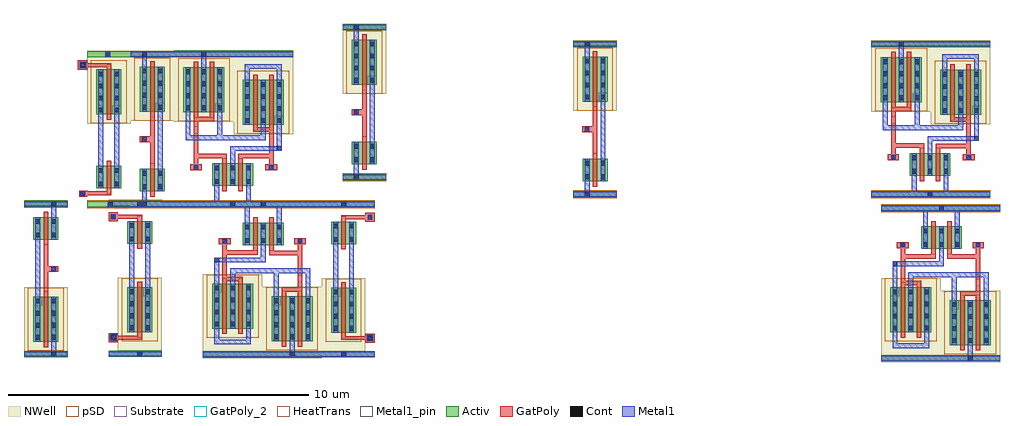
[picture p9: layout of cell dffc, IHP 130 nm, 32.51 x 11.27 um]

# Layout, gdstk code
from math import pi, radians
import gdstk
lib = gdstk.Library(unit=1e-6, precision=5e-09)
def R(c, l, rs):  # rectangles x0, y0, x1, y1
    for r in rs: c.add(gdstk.rectangle(r[:2], r[2:], *l))
def A(c, l, x, y, w, h, nx, ny, dx, dy):  # array of equal rectangles
    R(c, l, [(x+i*dx, y+j*dy, x+i*dx+w, y+j*dy+h) for i in range(nx) for j in range(ny)])
Activ = (1, 0)
GatPoly = (5, 0)
GatPoly_2 = (5, 2)
Cont = (6, 0)
Metal1 = (8, 0)
Metal1_pin = (8, 2)
pSD = (14, 0)
NWell = (31, 0)
Substrate = (40, 0)
HeatTrans = (51, 0)

nmos_8 = lib.new_cell('nmos$8')
R(nmos_8, Activ, [(0,0,0.3,0.3), (0,0,0.83,0.75), (0.53,0,0.83,0.3)])
R(nmos_8, GatPoly, [(0.34,-0.18,0.49,0.93)])
R(nmos_8, GatPoly_2, [(0.34,-0.18,0.49,0.93)])
R(nmos_8, Cont, [(0.07,0.07,0.23,0.23), (0.6,0.07,0.76,0.23), (0.07,0.52,0.23,0.68), (0.6,0.52,0.76,0.68)])
R(nmos_8, Metal1, [(0.07,0,0.23,0.75), (0.6,0,0.76,0.75)])
R(nmos_8, Metal1_pin, [(0.07,0,0.23,0.75), (0.6,0,0.76,0.75)])
R(nmos_8, HeatTrans, [(0.34,-0.18,0.49,0.93)])
nmos_8.add(gdstk.Label('nmos', (0.415,0.375), layer=63, texttype=0))
nmos_8.add(gdstk.Label('nmos', (0.415,0.375), layer=51, texttype=0))

pmos_1_16 = lib.new_cell('pmos$1$16')
R(pmos_1_16, Activ, [(0,0,0.3,0.3), (0,0,0.83,1.5), (0.53,0,0.83,0.3)])
R(pmos_1_16, GatPoly, [(0.34,-0.18,0.49,1.68), (0.34,-0.18,0.49,1.68)])
A(pmos_1_16, Cont, 0.07, 0.07, 0.16, 0.16, 1, 4, 0, 0.4)
A(pmos_1_16, Cont, 0.6, 0.07, 0.16, 0.16, 1, 4, 0, 0.4)
R(pmos_1_16, Metal1, [(0.07,0,0.23,1.5), (0.07,0,0.23,1.5), (0.6,0,0.76,1.5), (0.6,0,0.76,1.5)])
R(pmos_1_16, pSD, [(-0.18,-0.3,1.01,1.8)])
R(pmos_1_16, NWell, [(-0.31,-0.31,1.14,1.81)])
R(pmos_1_16, Substrate, [(0.53,0,0.83,0.3)])
R(pmos_1_16, HeatTrans, [(0.34,-0.18,0.49,1.68)])
pmos_1_16.add(gdstk.Label('pmos', (0.415,0.75), layer=63, texttype=0))
pmos_1_16.add(gdstk.Label('pmos', (0.415,0.75), layer=51, texttype=0))

inverter_6 = lib.new_cell('inverter$6')
R(inverter_6, Activ, [(-0.46,-0.1,0.99,0.1), (-0.46,4.9,0.99,5.1)])
R(inverter_6, GatPoly, [(0.19,1.365,0.34,2.965), (-0.155,2.07,0.145,2.265), (0.145,2.07,0.19,2.265)])
R(inverter_6, Cont, [(-0.08,-0.08,0.08,0.08), (-0.085,2.085,0.075,2.245), (-0.08,4.92,0.08,5.08)])
R(inverter_6, Metal1, [(-0.46,-0.08,0.99,0.08), (-0.08,-0.08,0.08,0.08), (-0.08,0.08,0.08,0.435), (0.45,0.96,0.61,3.37), (-0.085,2.085,0.075,2.245), (-0.08,4.585,0.08,4.92), (-0.46,4.92,-0.08,5.08), (-0.08,4.92,0.08,5.08), (0.08,4.92,0.99,5.08)])
R(inverter_6, Metal1_pin, [(-0.46,-0.08,0.99,0.08), (-0.08,-0.08,0.08,0.08), (-0.085,2.085,0.075,2.245), (0.45,3.155,0.61,3.315), (-0.46,4.92,0.99,5.08), (-0.08,4.92,0.08,5.08)])
R(inverter_6, pSD, [(-0.46,-0.13,0.99,0.13)])
R(inverter_6, NWell, [(-0.46,4.895,0.99,5.11)])
inverter_6.add(gdstk.Reference(nmos_8, (-0.15,0.435)))
inverter_6.add(gdstk.Reference(pmos_1_16, (-0.15,3.085)))
inverter_6.add(gdstk.Label('out', (0.505,3.25), layer=8, texttype=2))
inverter_6.add(gdstk.Label('VSS', (0.015,0.015), layer=8, texttype=2))
inverter_6.add(gdstk.Label('VDD', (-0.025,4.94), layer=8, texttype=2))
inverter_6.add(gdstk.Label('in', (-0.01,2.15), layer=8, texttype=2))

pmos_4 = lib.new_cell('pmos$4')
A(pmos_4, Activ, 0, 0, 0.3, 0.3, 3, 1, 0.53, 0)
R(pmos_4, Activ, [(0,0,1.36,1.5)])
R(pmos_4, GatPoly, [(0.34,-0.18,0.49,1.68), (0.34,-0.18,0.49,1.68), (0.87,-0.18,1.02,1.68)])
A(pmos_4, Cont, 0.07, 0.07, 0.16, 0.16, 3, 4, 0.53, 0.4)
R(pmos_4, Metal1, [(0.07,0,0.23,1.5), (0.07,0,0.23,1.5), (0.6,0,0.76,1.5), (0.6,0,0.76,1.5), (1.13,0,1.29,1.5)])
R(pmos_4, pSD, [(-0.18,-0.3,1.54,1.8)])
R(pmos_4, NWell, [(-0.31,-0.31,1.67,1.81)])
R(pmos_4, Substrate, [(1.06,0,1.36,0.3)])
R(pmos_4, HeatTrans, [(0.34,-0.18,0.49,1.68), (0.87,-0.18,1.02,1.68)])
pmos_4.add(gdstk.Label('pmos', (0.415,0.75), layer=63, texttype=0))
pmos_4.add(gdstk.Label('pmos', (0.415,0.75), layer=51, texttype=0))
pmos_4.add(gdstk.Label('pmos', (0.945,0.75), layer=51, texttype=0))

nmos_2_3 = lib.new_cell('nmos$2$3')
R(nmos_2_3, Activ, [(0,0,0.3,0.3), (0,0,0.83,0.75), (0.53,0,0.83,0.3)])
R(nmos_2_3, GatPoly, [(0.34,-0.18,0.49,0.93)])
R(nmos_2_3, GatPoly_2, [(0.34,-0.18,0.49,0.93)])
R(nmos_2_3, Cont, [(0.07,0.07,0.23,0.23), (0.6,0.07,0.76,0.23), (0.07,0.52,0.23,0.68), (0.6,0.52,0.76,0.68)])
R(nmos_2_3, Metal1, [(0.07,0,0.23,0.75), (0.6,0,0.76,0.75)])
R(nmos_2_3, Metal1_pin, [(0.07,0,0.23,0.75), (0.6,0,0.76,0.75)])
R(nmos_2_3, HeatTrans, [(0.34,-0.18,0.49,0.93)])
nmos_2_3.add(gdstk.Label('nmos', (0.415,0.375), layer=63, texttype=0))
nmos_2_3.add(gdstk.Label('nmos', (0.415,0.375), layer=51, texttype=0))

nor2_3 = lib.new_cell('nor2$3')
R(nor2_3, Activ, [(-2.34,-0.1,1.62,0.1), (-2.34,4.9,1.62,5.105)])
R(nor2_3, GatPoly, [(-1.805,1.13,-1.605,1.33), (-1.625,1.13,-1.425,1.33), (0.695,1.13,0.895,1.33), (0.82,1.13,0.97,1.685), (0.895,1.13,1.095,1.33), (-1.69,1.33,-1.54,1.69), (-0.2,1.535,0.97,1.685), (-1.69,1.54,-0.58,1.69), (0.82,1.685,0.97,2.46), (-1.69,1.69,-1.54,2.88), (0.29,2.42,0.97,2.57), (-1.69,2.76,-1.01,2.91)])
R(nor2_3, GatPoly_2, [(-1.69,2.35,-1.54,2.6)])
R(nor2_3, Cont, [(-0.47,-0.08,-0.31,0.08), (-1.69,1.15,-1.53,1.31), (0.815,1.15,0.975,1.31), (1.08,1.775,1.24,1.935), (-1.43,4.92,-1.27,5.08)])
R(nor2_3, Metal1, [(-2.34,-0.08,1.62,0.08), (-0.47,-0.08,-0.31,0.08), (-1,0.08,-0.84,0.84), (0.06,0.08,0.22,0.84), (-0.47,1.13,-0.31,1.775), (-1.69,1.15,-1.53,1.31), (0.815,1.15,0.975,1.31), (-0.47,1.775,1.24,1.935), (1.08,1.935,1.24,2.64), (-1.96,2.135,-1.8,3.29), (-1.96,2.135,0.71,2.295), (-0.9,2.135,-0.74,3.29), (0.55,2.135,0.71,2.87), (0.02,3.905,0.18,4.505), (1.08,3.905,1.24,4.505), (0.02,4.505,1.24,4.665), (-1.43,4.56,-1.27,5.08), (-2.34,4.92,1.62,5.08), (-1.43,4.92,-1.27,5.08)])
R(nor2_3, Metal1_pin, [(-2.34,-0.08,1.62,0.08), (-0.47,-0.08,-0.31,0.08), (-1.69,1.15,-1.53,1.31), (0.815,1.15,0.975,1.31), (1.08,1.775,1.24,1.935), (-2.34,4.92,-0.08,5.08), (-0.08,4.92,0.08,5.08), (0.08,4.92,1.62,5.08)])
R(nor2_3, pSD, [(-2.34,-0.13,1.62,0.13)])
R(nor2_3, NWell, [(-0.36,4.45,1.62,4.87), (-2.34,4.87,1.62,5.13)])
nor2_3.add(gdstk.Reference(pmos_4, (-0.05,2.64)))
nor2_3.add(gdstk.Reference(pmos_4, (-2.03,3.06)))
nor2_3.add(gdstk.Reference(pmos_4, (-2.03,3.06)))
nor2_3.add(gdstk.Reference(nmos_2_3, (-1.07,0.61)))
nor2_3.add(gdstk.Reference(nmos_2_3, (-0.54,0.61)))
nor2_3.add(gdstk.Label('vss', (-0.39,0), layer=8, texttype=2))
nor2_3.add(gdstk.Label('vdd', (-1.38,5), layer=8, texttype=2))
nor2_3.add(gdstk.Label('A', (-1.61,1.23), layer=8, texttype=2))
nor2_3.add(gdstk.Label('B', (0.895,1.23), layer=8, texttype=2))
nor2_3.add(gdstk.Label('out', (1.16,1.855), layer=8, texttype=2))

pmos_5 = lib.new_cell('pmos$5')
A(pmos_5, Activ, 0, 0, 0.3, 0.3, 3, 1, 0.53, 0)
R(pmos_5, Activ, [(0,0,1.36,1.5)])
R(pmos_5, GatPoly, [(0.34,-0.18,0.49,1.68), (0.34,-0.18,0.49,1.68), (0.87,-0.18,1.02,1.68)])
A(pmos_5, Cont, 0.07, 0.07, 0.16, 0.16, 3, 4, 0.53, 0.4)
R(pmos_5, Metal1, [(0.07,0,0.23,1.5), (0.07,0,0.23,1.5), (0.6,0,0.76,1.5), (0.6,0,0.76,1.5), (1.13,0,1.29,1.5)])
R(pmos_5, pSD, [(-0.18,-0.3,1.54,1.8)])
R(pmos_5, NWell, [(-0.31,-0.31,1.67,1.81)])
R(pmos_5, Substrate, [(1.06,0,1.36,0.3)])
R(pmos_5, HeatTrans, [(0.34,-0.18,0.49,1.68), (0.87,-0.18,1.02,1.68)])
pmos_5.add(gdstk.Label('pmos', (0.415,0.75), layer=63, texttype=0))
pmos_5.add(gdstk.Label('pmos', (0.415,0.75), layer=51, texttype=0))
pmos_5.add(gdstk.Label('pmos', (0.945,0.75), layer=51, texttype=0))

nmos_2_4 = lib.new_cell('nmos$2$4')
R(nmos_2_4, Activ, [(0,0,0.3,0.3), (0,0,0.83,0.75), (0.53,0,0.83,0.3)])
R(nmos_2_4, GatPoly, [(0.34,-0.18,0.49,0.93)])
R(nmos_2_4, GatPoly_2, [(0.34,-0.18,0.49,0.93)])
R(nmos_2_4, Cont, [(0.07,0.07,0.23,0.23), (0.6,0.07,0.76,0.23), (0.07,0.52,0.23,0.68), (0.6,0.52,0.76,0.68)])
R(nmos_2_4, Metal1, [(0.07,0,0.23,0.75), (0.6,0,0.76,0.75)])
R(nmos_2_4, Metal1_pin, [(0.07,0,0.23,0.75), (0.6,0,0.76,0.75)])
R(nmos_2_4, HeatTrans, [(0.34,-0.18,0.49,0.93)])
nmos_2_4.add(gdstk.Label('nmos', (0.415,0.375), layer=63, texttype=0))
nmos_2_4.add(gdstk.Label('nmos', (0.415,0.375), layer=51, texttype=0))

nor2_4 = lib.new_cell('nor2$4')
R(nor2_4, Activ, [(-2.34,-0.1,1.62,0.1), (-2.34,4.9,1.62,5.105)])
R(nor2_4, GatPoly, [(-1.805,1.13,-1.605,1.33), (-1.625,1.13,-1.425,1.33), (0.695,1.13,0.895,1.33), (0.82,1.13,0.97,1.685), (0.895,1.13,1.095,1.33), (-1.69,1.33,-1.54,1.69), (-0.2,1.535,0.97,1.685), (-1.69,1.54,-0.58,1.69), (0.82,1.685,0.97,2.46), (-1.69,1.69,-1.54,2.88), (0.29,2.42,0.97,2.57), (-1.69,2.76,-1.01,2.91)])
R(nor2_4, GatPoly_2, [(-1.69,2.35,-1.54,2.6)])
R(nor2_4, Cont, [(-0.47,-0.08,-0.31,0.08), (-1.69,1.15,-1.53,1.31), (0.815,1.15,0.975,1.31), (1.08,1.775,1.24,1.935), (-1.43,4.92,-1.27,5.08)])
R(nor2_4, Metal1, [(-2.34,-0.08,1.62,0.08), (-0.47,-0.08,-0.31,0.08), (-1,0.08,-0.84,0.84), (0.06,0.08,0.22,0.84), (-0.47,1.13,-0.31,1.775), (-1.69,1.15,-1.53,1.31), (0.815,1.15,0.975,1.31), (-0.47,1.775,1.24,1.935), (1.08,1.935,1.24,2.64), (-1.96,2.135,-1.8,3.29), (-1.96,2.135,0.71,2.295), (-0.9,2.135,-0.74,3.29), (0.55,2.135,0.71,2.87), (0.02,3.905,0.18,4.505), (1.08,3.905,1.24,4.505), (0.02,4.505,1.24,4.665), (-1.43,4.56,-1.27,5.08), (-2.34,4.92,1.62,5.08), (-1.43,4.92,-1.27,5.08)])
R(nor2_4, Metal1_pin, [(-2.34,-0.08,1.62,0.08), (-0.47,-0.08,-0.31,0.08), (-1.69,1.15,-1.53,1.31), (0.815,1.15,0.975,1.31), (1.08,1.775,1.24,1.935), (-2.34,4.92,-0.08,5.08), (-0.08,4.92,0.08,5.08), (0.08,4.92,1.62,5.08)])
R(nor2_4, pSD, [(-2.34,-0.13,1.62,0.13)])
R(nor2_4, NWell, [(-0.36,4.45,1.62,4.87), (-2.34,4.87,1.62,5.13)])
nor2_4.add(gdstk.Reference(pmos_5, (-0.05,2.64)))
nor2_4.add(gdstk.Reference(pmos_5, (-2.03,3.06)))
nor2_4.add(gdstk.Reference(pmos_5, (-2.03,3.06)))
nor2_4.add(gdstk.Reference(nmos_2_4, (-1.07,0.61)))
nor2_4.add(gdstk.Reference(nmos_2_4, (-0.54,0.61)))
nor2_4.add(gdstk.Label('vss', (-0.39,0), layer=8, texttype=2))
nor2_4.add(gdstk.Label('vdd', (-1.38,5), layer=8, texttype=2))
nor2_4.add(gdstk.Label('A', (-1.61,1.23), layer=8, texttype=2))
nor2_4.add(gdstk.Label('B', (0.895,1.23), layer=8, texttype=2))
nor2_4.add(gdstk.Label('out', (1.16,1.855), layer=8, texttype=2))

nmos_9 = lib.new_cell('nmos$9')
R(nmos_9, Activ, [(0,0,0.3,0.3), (0,0,0.83,0.75), (0.53,0,0.83,0.3)])
R(nmos_9, GatPoly, [(0.34,-0.18,0.49,0.93)])
R(nmos_9, GatPoly_2, [(0.34,-0.18,0.49,0.93)])
R(nmos_9, Cont, [(0.07,0.07,0.23,0.23), (0.6,0.07,0.76,0.23), (0.07,0.52,0.23,0.68), (0.6,0.52,0.76,0.68)])
R(nmos_9, Metal1, [(0.07,0,0.23,0.75), (0.6,0,0.76,0.75)])
R(nmos_9, Metal1_pin, [(0.07,0,0.23,0.75), (0.6,0,0.76,0.75)])
R(nmos_9, HeatTrans, [(0.34,-0.18,0.49,0.93)])
nmos_9.add(gdstk.Label('nmos', (0.415,0.375), layer=63, texttype=0))
nmos_9.add(gdstk.Label('nmos', (0.415,0.375), layer=51, texttype=0))

pmos_1_17 = lib.new_cell('pmos$1$17')
R(pmos_1_17, Activ, [(0,0,0.3,0.3), (0,0,0.83,1.5), (0.53,0,0.83,0.3)])
R(pmos_1_17, GatPoly, [(0.34,-0.18,0.49,1.68), (0.34,-0.18,0.49,1.68)])
A(pmos_1_17, Cont, 0.07, 0.07, 0.16, 0.16, 1, 4, 0, 0.4)
A(pmos_1_17, Cont, 0.6, 0.07, 0.16, 0.16, 1, 4, 0, 0.4)
R(pmos_1_17, Metal1, [(0.07,0,0.23,1.5), (0.07,0,0.23,1.5), (0.6,0,0.76,1.5), (0.6,0,0.76,1.5)])
R(pmos_1_17, pSD, [(-0.18,-0.3,1.01,1.8)])
R(pmos_1_17, NWell, [(-0.31,-0.31,1.14,1.81)])
R(pmos_1_17, Substrate, [(0.53,0,0.83,0.3)])
R(pmos_1_17, HeatTrans, [(0.34,-0.18,0.49,1.68)])
pmos_1_17.add(gdstk.Label('pmos', (0.415,0.75), layer=63, texttype=0))
pmos_1_17.add(gdstk.Label('pmos', (0.415,0.75), layer=51, texttype=0))

inverter_7 = lib.new_cell('inverter$7')
R(inverter_7, Activ, [(-0.46,-0.1,0.99,0.1), (-0.46,4.9,0.99,5.1)])
R(inverter_7, GatPoly, [(0.19,1.365,0.34,2.965), (-0.155,2.07,0.145,2.265), (0.145,2.07,0.19,2.265)])
R(inverter_7, Cont, [(-0.08,-0.08,0.08,0.08), (-0.085,2.085,0.075,2.245), (-0.08,4.92,0.08,5.08)])
R(inverter_7, Metal1, [(-0.46,-0.08,0.99,0.08), (-0.08,-0.08,0.08,0.08), (-0.08,0.08,0.08,0.435), (0.45,0.96,0.61,3.37), (-0.085,2.085,0.075,2.245), (-0.08,4.585,0.08,4.92), (-0.46,4.92,-0.08,5.08), (-0.08,4.92,0.08,5.08), (0.08,4.92,0.99,5.08)])
R(inverter_7, Metal1_pin, [(-0.46,-0.08,0.99,0.08), (-0.08,-0.08,0.08,0.08), (-0.085,2.085,0.075,2.245), (0.45,3.155,0.61,3.315), (-0.46,4.92,0.99,5.08), (-0.08,4.92,0.08,5.08)])
R(inverter_7, pSD, [(-0.46,-0.13,0.99,0.13)])
R(inverter_7, NWell, [(-0.46,4.895,0.99,5.11)])
inverter_7.add(gdstk.Reference(nmos_9, (-0.15,0.435)))
inverter_7.add(gdstk.Reference(pmos_1_17, (-0.15,3.085)))
inverter_7.add(gdstk.Label('out', (0.505,3.25), layer=8, texttype=2))
inverter_7.add(gdstk.Label('VSS', (0.015,0.015), layer=8, texttype=2))
inverter_7.add(gdstk.Label('VDD', (-0.025,4.94), layer=8, texttype=2))
inverter_7.add(gdstk.Label('in', (-0.01,2.15), layer=8, texttype=2))

pmos_6 = lib.new_cell('pmos$6')
A(pmos_6, Activ, 0, 0, 0.3, 0.3, 3, 1, 0.53, 0)
R(pmos_6, Activ, [(0,0,1.36,1.5)])
R(pmos_6, GatPoly, [(0.34,-0.18,0.49,1.68), (0.34,-0.18,0.49,1.68), (0.87,-0.18,1.02,1.68)])
A(pmos_6, Cont, 0.07, 0.07, 0.16, 0.16, 3, 4, 0.53, 0.4)
R(pmos_6, Metal1, [(0.07,0,0.23,1.5), (0.07,0,0.23,1.5), (0.6,0,0.76,1.5), (0.6,0,0.76,1.5), (1.13,0,1.29,1.5)])
R(pmos_6, pSD, [(-0.18,-0.3,1.54,1.8)])
R(pmos_6, NWell, [(-0.31,-0.31,1.67,1.81)])
R(pmos_6, Substrate, [(1.06,0,1.36,0.3)])
R(pmos_6, HeatTrans, [(0.34,-0.18,0.49,1.68), (0.87,-0.18,1.02,1.68)])
pmos_6.add(gdstk.Label('pmos', (0.415,0.75), layer=63, texttype=0))
pmos_6.add(gdstk.Label('pmos', (0.415,0.75), layer=51, texttype=0))
pmos_6.add(gdstk.Label('pmos', (0.945,0.75), layer=51, texttype=0))

nmos_2_5 = lib.new_cell('nmos$2$5')
R(nmos_2_5, Activ, [(0,0,0.3,0.3), (0,0,0.83,0.75), (0.53,0,0.83,0.3)])
R(nmos_2_5, GatPoly, [(0.34,-0.18,0.49,0.93)])
R(nmos_2_5, GatPoly_2, [(0.34,-0.18,0.49,0.93)])
R(nmos_2_5, Cont, [(0.07,0.07,0.23,0.23), (0.6,0.07,0.76,0.23), (0.07,0.52,0.23,0.68), (0.6,0.52,0.76,0.68)])
R(nmos_2_5, Metal1, [(0.07,0,0.23,0.75), (0.6,0,0.76,0.75)])
R(nmos_2_5, Metal1_pin, [(0.07,0,0.23,0.75), (0.6,0,0.76,0.75)])
R(nmos_2_5, HeatTrans, [(0.34,-0.18,0.49,0.93)])
nmos_2_5.add(gdstk.Label('nmos', (0.415,0.375), layer=63, texttype=0))
nmos_2_5.add(gdstk.Label('nmos', (0.415,0.375), layer=51, texttype=0))

nor2_5 = lib.new_cell('nor2$5')
R(nor2_5, Activ, [(-2.34,-0.1,1.62,0.1), (-2.34,4.9,1.62,5.1)])
R(nor2_5, GatPoly, [(-1.805,1.13,-1.605,1.33), (-1.625,1.13,-1.425,1.33), (0.695,1.13,0.895,1.33), (0.82,1.13,0.97,1.685), (0.895,1.13,1.095,1.33), (-1.69,1.33,-1.54,1.69), (-0.2,1.535,0.97,1.685), (-1.69,1.54,-0.58,1.69), (0.82,1.685,0.97,2.46), (-1.69,1.69,-1.54,2.88), (0.29,2.42,0.97,2.57), (-1.69,2.76,-1.01,2.91)])
R(nor2_5, GatPoly_2, [(-1.69,2.35,-1.54,2.6)])
R(nor2_5, Cont, [(-0.47,-0.08,-0.31,0.08), (-1.69,1.15,-1.53,1.31), (0.815,1.15,0.975,1.31), (1.08,1.775,1.24,1.935), (-1.43,4.92,-1.27,5.08)])
R(nor2_5, Metal1, [(-2.34,-0.08,1.62,0.08), (-0.47,-0.08,-0.31,0.08), (-1,0.08,-0.84,0.84), (0.06,0.08,0.22,0.84), (-0.47,1.13,-0.31,1.775), (-1.69,1.15,-1.53,1.31), (0.815,1.15,0.975,1.31), (-0.47,1.775,1.24,1.935), (1.08,1.935,1.24,2.64), (-1.96,2.135,-1.8,3.29), (-1.96,2.135,0.71,2.295), (-0.9,2.135,-0.74,3.29), (0.55,2.135,0.71,2.87), (0.02,3.905,0.18,4.505), (1.08,3.905,1.24,4.505), (0.02,4.505,1.24,4.665), (-1.43,4.56,-1.27,5.08), (-2.34,4.92,1.62,5.08), (-1.43,4.92,-1.27,5.08)])
R(nor2_5, Metal1_pin, [(-2.34,-0.08,1.62,0.08), (-0.47,-0.08,-0.31,0.08), (-1.69,1.15,-1.53,1.31), (0.815,1.15,0.975,1.31), (1.08,1.775,1.24,1.935), (-2.34,4.92,-0.08,5.08), (-0.08,4.92,0.08,5.08), (0.08,4.92,1.62,5.08)])
R(nor2_5, pSD, [(-2.34,-0.13,1.62,0.13)])
R(nor2_5, NWell, [(-0.36,4.45,1.62,4.87), (-2.34,4.87,1.62,5.13)])
nor2_5.add(gdstk.Reference(pmos_6, (-0.05,2.64)))
nor2_5.add(gdstk.Reference(pmos_6, (-2.03,3.06)))
nor2_5.add(gdstk.Reference(pmos_6, (-2.03,3.06)))
nor2_5.add(gdstk.Reference(nmos_2_5, (-1.07,0.61)))
nor2_5.add(gdstk.Reference(nmos_2_5, (-0.54,0.61)))
nor2_5.add(gdstk.Label('vss', (-0.39,0), layer=8, texttype=2))
nor2_5.add(gdstk.Label('vdd', (-1.38,5), layer=8, texttype=2))
nor2_5.add(gdstk.Label('A', (-1.61,1.23), layer=8, texttype=2))
nor2_5.add(gdstk.Label('B', (0.895,1.23), layer=8, texttype=2))
nor2_5.add(gdstk.Label('out', (1.16,1.855), layer=8, texttype=2))

nmos_10 = lib.new_cell('nmos$10')
R(nmos_10, Activ, [(0,0,0.3,0.3), (0,0,0.83,0.75), (0.53,0,0.83,0.3)])
R(nmos_10, GatPoly, [(0.34,-0.18,0.49,0.93)])
R(nmos_10, GatPoly_2, [(0.34,-0.18,0.49,0.93)])
R(nmos_10, Cont, [(0.07,0.07,0.23,0.23), (0.6,0.07,0.76,0.23), (0.07,0.52,0.23,0.68), (0.6,0.52,0.76,0.68)])
R(nmos_10, Metal1, [(0.07,0,0.23,0.75), (0.6,0,0.76,0.75)])
R(nmos_10, Metal1_pin, [(0.07,0,0.23,0.75), (0.6,0,0.76,0.75)])
R(nmos_10, HeatTrans, [(0.34,-0.18,0.49,0.93)])
nmos_10.add(gdstk.Label('nmos', (0.415,0.375), layer=63, texttype=0))
nmos_10.add(gdstk.Label('nmos', (0.415,0.375), layer=51, texttype=0))

pmos_1_18 = lib.new_cell('pmos$1$18')
R(pmos_1_18, Activ, [(0,0,0.3,0.3), (0,0,0.83,1.5), (0.53,0,0.83,0.3)])
R(pmos_1_18, GatPoly, [(0.34,-0.18,0.49,1.68), (0.34,-0.18,0.49,1.68)])
A(pmos_1_18, Cont, 0.07, 0.07, 0.16, 0.16, 1, 4, 0, 0.4)
A(pmos_1_18, Cont, 0.6, 0.07, 0.16, 0.16, 1, 4, 0, 0.4)
R(pmos_1_18, Metal1, [(0.07,0,0.23,1.5), (0.07,0,0.23,1.5), (0.6,0,0.76,1.5), (0.6,0,0.76,1.5)])
R(pmos_1_18, pSD, [(-0.18,-0.3,1.01,1.8)])
R(pmos_1_18, NWell, [(-0.31,-0.31,1.14,1.81)])
R(pmos_1_18, Substrate, [(0.53,0,0.83,0.3)])
R(pmos_1_18, HeatTrans, [(0.34,-0.18,0.49,1.68)])
pmos_1_18.add(gdstk.Label('pmos', (0.415,0.75), layer=63, texttype=0))
pmos_1_18.add(gdstk.Label('pmos', (0.415,0.75), layer=51, texttype=0))

inverter_8 = lib.new_cell('inverter$8')
R(inverter_8, Activ, [(-0.46,-0.1,0.99,0.1), (-0.46,4.9,0.99,5.1)])
R(inverter_8, GatPoly, [(0.19,1.365,0.34,2.965), (-0.155,2.07,0.145,2.265), (0.145,2.07,0.19,2.265)])
R(inverter_8, Cont, [(-0.08,-0.08,0.08,0.08), (-0.085,2.085,0.075,2.245), (-0.08,4.92,0.08,5.08)])
R(inverter_8, Metal1, [(-0.46,-0.08,0.99,0.08), (-0.08,-0.08,0.08,0.08), (-0.08,0.08,0.08,0.435), (0.45,0.96,0.61,3.37), (-0.085,2.085,0.075,2.245), (-0.08,4.585,0.08,4.92), (-0.46,4.92,-0.08,5.08), (-0.08,4.92,0.08,5.08), (0.08,4.92,0.99,5.08)])
R(inverter_8, Metal1_pin, [(-0.46,-0.08,0.99,0.08), (-0.08,-0.08,0.08,0.08), (-0.085,2.085,0.075,2.245), (0.45,3.155,0.61,3.315), (-0.46,4.92,0.99,5.08), (-0.08,4.92,0.08,5.08)])
R(inverter_8, pSD, [(-0.46,-0.13,0.99,0.13)])
R(inverter_8, NWell, [(-0.46,4.895,0.99,5.11)])
inverter_8.add(gdstk.Reference(nmos_10, (-0.15,0.435)))
inverter_8.add(gdstk.Reference(pmos_1_18, (-0.15,3.085)))
inverter_8.add(gdstk.Label('out', (0.505,3.25), layer=8, texttype=2))
inverter_8.add(gdstk.Label('VSS', (0.015,0.015), layer=8, texttype=2))
inverter_8.add(gdstk.Label('VDD', (-0.025,4.94), layer=8, texttype=2))
inverter_8.add(gdstk.Label('in', (-0.01,2.15), layer=8, texttype=2))

pmos_7 = lib.new_cell('pmos$7')
A(pmos_7, Activ, 0, 0, 0.3, 0.3, 3, 1, 0.53, 0)
R(pmos_7, Activ, [(0,0,1.36,1.5)])
R(pmos_7, GatPoly, [(0.34,-0.18,0.49,1.68), (0.34,-0.18,0.49,1.68), (0.87,-0.18,1.02,1.68)])
A(pmos_7, Cont, 0.07, 0.07, 0.16, 0.16, 3, 4, 0.53, 0.4)
R(pmos_7, Metal1, [(0.07,0,0.23,1.5), (0.07,0,0.23,1.5), (0.6,0,0.76,1.5), (0.6,0,0.76,1.5), (1.13,0,1.29,1.5)])
R(pmos_7, pSD, [(-0.18,-0.3,1.54,1.8)])
R(pmos_7, NWell, [(-0.31,-0.31,1.67,1.81)])
R(pmos_7, Substrate, [(1.06,0,1.36,0.3)])
R(pmos_7, HeatTrans, [(0.34,-0.18,0.49,1.68), (0.87,-0.18,1.02,1.68)])
pmos_7.add(gdstk.Label('pmos', (0.415,0.75), layer=63, texttype=0))
pmos_7.add(gdstk.Label('pmos', (0.415,0.75), layer=51, texttype=0))
pmos_7.add(gdstk.Label('pmos', (0.945,0.75), layer=51, texttype=0))

nmos_2_6 = lib.new_cell('nmos$2$6')
R(nmos_2_6, Activ, [(0,0,0.3,0.3), (0,0,0.83,0.75), (0.53,0,0.83,0.3)])
R(nmos_2_6, GatPoly, [(0.34,-0.18,0.49,0.93)])
R(nmos_2_6, GatPoly_2, [(0.34,-0.18,0.49,0.93)])
R(nmos_2_6, Cont, [(0.07,0.07,0.23,0.23), (0.6,0.07,0.76,0.23), (0.07,0.52,0.23,0.68), (0.6,0.52,0.76,0.68)])
R(nmos_2_6, Metal1, [(0.07,0,0.23,0.75), (0.6,0,0.76,0.75)])
R(nmos_2_6, Metal1_pin, [(0.07,0,0.23,0.75), (0.6,0,0.76,0.75)])
R(nmos_2_6, HeatTrans, [(0.34,-0.18,0.49,0.93)])
nmos_2_6.add(gdstk.Label('nmos', (0.415,0.375), layer=63, texttype=0))
nmos_2_6.add(gdstk.Label('nmos', (0.415,0.375), layer=51, texttype=0))

nor2_6 = lib.new_cell('nor2$6')
R(nor2_6, Activ, [(-2.34,-0.1,1.62,0.1), (-2.34,4.9,1.62,5.1)])
R(nor2_6, GatPoly, [(-1.805,1.13,-1.605,1.33), (-1.625,1.13,-1.425,1.33), (0.695,1.13,0.895,1.33), (0.82,1.13,0.97,1.685), (0.895,1.13,1.095,1.33), (-1.69,1.33,-1.54,1.69), (-0.2,1.535,0.97,1.685), (-1.69,1.54,-0.58,1.69), (0.82,1.685,0.97,2.46), (-1.69,1.69,-1.54,2.88), (0.29,2.42,0.97,2.57), (-1.69,2.76,-1.01,2.91)])
R(nor2_6, GatPoly_2, [(-1.69,2.35,-1.54,2.6)])
R(nor2_6, Cont, [(-0.47,-0.08,-0.31,0.08), (-1.69,1.15,-1.53,1.31), (0.815,1.15,0.975,1.31), (1.08,1.775,1.24,1.935), (-1.43,4.92,-1.27,5.08)])
R(nor2_6, Metal1, [(-2.34,-0.08,1.62,0.08), (-0.47,-0.08,-0.31,0.08), (-1,0.08,-0.84,0.84), (0.06,0.08,0.22,0.84), (-0.47,1.13,-0.31,1.775), (-1.69,1.15,-1.53,1.31), (0.815,1.15,0.975,1.31), (-0.47,1.775,1.24,1.935), (1.08,1.935,1.24,2.64), (-1.96,2.135,-1.8,3.29), (-1.96,2.135,0.71,2.295), (-0.9,2.135,-0.74,3.29), (0.55,2.135,0.71,2.87), (0.02,3.905,0.18,4.505), (1.08,3.905,1.24,4.505), (0.02,4.505,1.24,4.665), (-1.43,4.56,-1.27,5.08), (-2.34,4.92,1.62,5.08), (-1.43,4.92,-1.27,5.08)])
R(nor2_6, Metal1_pin, [(-2.34,-0.08,1.62,0.08), (-0.47,-0.08,-0.31,0.08), (-1.69,1.15,-1.53,1.31), (0.815,1.15,0.975,1.31), (1.08,1.775,1.24,1.935), (-2.34,4.92,-0.08,5.08), (-0.08,4.92,0.08,5.08), (0.08,4.92,1.62,5.08)])
R(nor2_6, pSD, [(-2.34,-0.13,1.62,0.13)])
R(nor2_6, NWell, [(-0.36,4.45,1.62,4.87), (-2.34,4.87,1.62,5.13)])
nor2_6.add(gdstk.Reference(pmos_7, (-0.05,2.64)))
nor2_6.add(gdstk.Reference(pmos_7, (-2.03,3.06)))
nor2_6.add(gdstk.Reference(pmos_7, (-2.03,3.06)))
nor2_6.add(gdstk.Reference(nmos_2_6, (-1.07,0.61)))
nor2_6.add(gdstk.Reference(nmos_2_6, (-0.54,0.61)))
nor2_6.add(gdstk.Label('vss', (-0.39,0), layer=8, texttype=2))
nor2_6.add(gdstk.Label('vdd', (-1.38,5), layer=8, texttype=2))
nor2_6.add(gdstk.Label('A', (-1.61,1.23), layer=8, texttype=2))
nor2_6.add(gdstk.Label('B', (0.895,1.23), layer=8, texttype=2))
nor2_6.add(gdstk.Label('out', (1.16,1.855), layer=8, texttype=2))

pmos_1_9 = lib.new_cell('pmos$1$9')
R(pmos_1_9, Activ, [(0,0,0.3,0.3), (0,0,0.83,1.5), (0.53,0,0.83,0.3)])
R(pmos_1_9, GatPoly, [(0.34,-0.18,0.49,1.68), (0.34,-0.18,0.49,1.68)])
A(pmos_1_9, Cont, 0.07, 0.07, 0.16, 0.16, 1, 4, 0, 0.4)
A(pmos_1_9, Cont, 0.6, 0.07, 0.16, 0.16, 1, 4, 0, 0.4)
R(pmos_1_9, Metal1, [(0.07,0,0.23,1.5), (0.07,0,0.23,1.5), (0.6,0,0.76,1.5), (0.6,0,0.76,1.5)])
R(pmos_1_9, pSD, [(-0.18,-0.3,1.01,1.8)])
R(pmos_1_9, NWell, [(-0.31,-0.31,1.14,1.81)])
R(pmos_1_9, Substrate, [(0.53,0,0.83,0.3)])
R(pmos_1_9, HeatTrans, [(0.34,-0.18,0.49,1.68)])
pmos_1_9.add(gdstk.Label('pmos', (0.415,0.75), layer=63, texttype=0))
pmos_1_9.add(gdstk.Label('pmos', (0.415,0.75), layer=51, texttype=0))

nmos_1_6 = lib.new_cell('nmos$1$6')
R(nmos_1_6, Activ, [(0,0,0.3,0.3), (0,0,0.83,0.75), (0.53,0,0.83,0.3)])
R(nmos_1_6, GatPoly, [(0.34,-0.18,0.49,0.93)])
R(nmos_1_6, GatPoly_2, [(0.34,-0.18,0.49,0.93)])
R(nmos_1_6, Cont, [(0.07,0.07,0.23,0.23), (0.6,0.07,0.76,0.23), (0.07,0.52,0.23,0.68), (0.6,0.52,0.76,0.68)])
R(nmos_1_6, Metal1, [(0.07,0,0.23,0.75), (0.6,0,0.76,0.75)])
R(nmos_1_6, Metal1_pin, [(0.07,0,0.23,0.75), (0.6,0,0.76,0.75)])
R(nmos_1_6, HeatTrans, [(0.34,-0.18,0.49,0.93)])
nmos_1_6.add(gdstk.Label('nmos', (0.415,0.375), layer=63, texttype=0))
nmos_1_6.add(gdstk.Label('nmos', (0.415,0.375), layer=51, texttype=0))

tg_6 = lib.new_cell('tg$6')
R(tg_6, Activ, [(-1.3,-0.425,0.15,-0.22), (-1.3,4.58,0.15,4.78)])
R(tg_6, GatPoly, [(-1.56,-0.075,-1.29,0.125), (-1.29,-0.025,-0.5,0.115), (-1.61,4.165,-1.3,4.48), (-1.3,4.24,-0.5,4.37)])
R(tg_6, Cont, [(-0.61,-0.405,-0.44,-0.24), (-1.52,-0.055,-1.36,0.105), (-1.52,4.235,-1.36,4.395), (-0.69,4.6,-0.53,4.76), (-0.69,4.6,-0.53,4.76)])
R(tg_6, Metal1, [(-0.61,-0.405,-0.44,-0.24), (-1.52,-0.055,-1.36,0.105), (-0.92,0.725,-0.76,0.885), (-0.39,0.725,-0.23,0.885), (-0.92,0.955,-0.76,2.67), (-0.39,0.955,-0.23,2.67), (-1.55,4.21,-1.335,4.425), (-0.69,4.6,-0.53,4.76)])
R(tg_6, Metal1_pin, [(-0.61,-0.405,-0.44,-0.24), (-1.52,-0.055,-1.36,0.105), (-0.92,0.725,-0.76,0.885), (-0.39,0.725,-0.23,0.885), (-1.52,4.235,-1.36,4.395), (-0.69,4.6,-0.53,4.76)])
R(tg_6, pSD, [(-1.3,-0.455,0.15,-0.19)])
R(tg_6, NWell, [(-1.3,4.48,0.15,4.795)])
tg_6.add(gdstk.Reference(pmos_1_9, (-0.99,2.67)))
tg_6.add(gdstk.Reference(nmos_1_6, (-0.99,0.205)))
tg_6.add(gdstk.Label('E', (-1.405,0.045), layer=8, texttype=2))
tg_6.add(gdstk.Label('N_E', (-1.48,4.305), layer=8, texttype=2))
tg_6.add(gdstk.Label('VIN', (-0.84,0.81), layer=8, texttype=2))
tg_6.add(gdstk.Label('VOUT', (-0.305,0.765), layer=8, texttype=2))
tg_6.add(gdstk.Label('vdd', (-0.61,4.665), layer=8, texttype=2))
tg_6.add(gdstk.Label('vss', (-0.545,-0.35), layer=8, texttype=2))

nmos_11 = lib.new_cell('nmos$11')
R(nmos_11, Activ, [(0,0,0.3,0.3), (0,0,0.83,0.75), (0.53,0,0.83,0.3)])
R(nmos_11, GatPoly, [(0.34,-0.18,0.49,0.93)])
R(nmos_11, GatPoly_2, [(0.34,-0.18,0.49,0.93)])
R(nmos_11, Cont, [(0.07,0.07,0.23,0.23), (0.6,0.07,0.76,0.23), (0.07,0.52,0.23,0.68), (0.6,0.52,0.76,0.68)])
R(nmos_11, Metal1, [(0.07,0,0.23,0.75), (0.6,0,0.76,0.75)])
R(nmos_11, Metal1_pin, [(0.07,0,0.23,0.75), (0.6,0,0.76,0.75)])
R(nmos_11, HeatTrans, [(0.34,-0.18,0.49,0.93)])
nmos_11.add(gdstk.Label('nmos', (0.415,0.375), layer=63, texttype=0))
nmos_11.add(gdstk.Label('nmos', (0.415,0.375), layer=51, texttype=0))

pmos_1_22 = lib.new_cell('pmos$1$22')
R(pmos_1_22, Activ, [(0,0,0.3,0.3), (0,0,0.83,1.5), (0.53,0,0.83,0.3)])
R(pmos_1_22, GatPoly, [(0.34,-0.18,0.49,1.68), (0.34,-0.18,0.49,1.68)])
A(pmos_1_22, Cont, 0.07, 0.07, 0.16, 0.16, 1, 4, 0, 0.4)
A(pmos_1_22, Cont, 0.6, 0.07, 0.16, 0.16, 1, 4, 0, 0.4)
R(pmos_1_22, Metal1, [(0.07,0,0.23,1.5), (0.07,0,0.23,1.5), (0.6,0,0.76,1.5), (0.6,0,0.76,1.5)])
R(pmos_1_22, pSD, [(-0.18,-0.3,1.01,1.8)])
R(pmos_1_22, NWell, [(-0.31,-0.31,1.14,1.81)])
R(pmos_1_22, Substrate, [(0.53,0,0.83,0.3)])
R(pmos_1_22, HeatTrans, [(0.34,-0.18,0.49,1.68)])
pmos_1_22.add(gdstk.Label('pmos', (0.415,0.75), layer=63, texttype=0))
pmos_1_22.add(gdstk.Label('pmos', (0.415,0.75), layer=51, texttype=0))

inverter_9 = lib.new_cell('inverter$9')
R(inverter_9, Activ, [(-0.46,-0.1,0.99,0.1), (-0.46,4.9,0.99,5.1)])
R(inverter_9, GatPoly, [(0.19,1.365,0.34,2.965), (-0.155,2.07,0.145,2.265), (0.145,2.07,0.19,2.265)])
R(inverter_9, Cont, [(-0.08,-0.08,0.08,0.08), (-0.085,2.085,0.075,2.245), (-0.08,4.92,0.08,5.08)])
R(inverter_9, Metal1, [(-0.46,-0.08,0.99,0.08), (-0.08,-0.08,0.08,0.08), (-0.08,0.08,0.08,0.435), (0.45,0.96,0.61,3.37), (-0.085,2.085,0.075,2.245), (-0.08,4.585,0.08,4.92), (-0.46,4.92,-0.08,5.08), (-0.08,4.92,0.08,5.08), (0.08,4.92,0.99,5.08)])
R(inverter_9, Metal1_pin, [(-0.46,-0.08,0.99,0.08), (-0.08,-0.08,0.08,0.08), (-0.085,2.085,0.075,2.245), (0.45,3.155,0.61,3.315), (-0.46,4.92,0.99,5.08), (-0.08,4.92,0.08,5.08)])
R(inverter_9, pSD, [(-0.46,-0.13,0.99,0.13)])
R(inverter_9, NWell, [(-0.46,4.87,0.99,5.13)])
inverter_9.add(gdstk.Reference(nmos_11, (-0.15,0.435)))
inverter_9.add(gdstk.Reference(pmos_1_22, (-0.15,3.085)))
inverter_9.add(gdstk.Label('out', (0.505,3.25), layer=8, texttype=2))
inverter_9.add(gdstk.Label('VSS', (0.015,0.015), layer=8, texttype=2))
inverter_9.add(gdstk.Label('VDD', (-0.025,4.94), layer=8, texttype=2))
inverter_9.add(gdstk.Label('in', (-0.01,2.15), layer=8, texttype=2))

pmos_1_20 = lib.new_cell('pmos$1$20')
R(pmos_1_20, Activ, [(0,0,0.3,0.3), (0,0,0.83,1.5), (0.53,0,0.83,0.3)])
R(pmos_1_20, GatPoly, [(0.34,-0.18,0.49,1.68), (0.34,-0.18,0.49,1.68)])
A(pmos_1_20, Cont, 0.07, 0.07, 0.16, 0.16, 1, 4, 0, 0.4)
A(pmos_1_20, Cont, 0.6, 0.07, 0.16, 0.16, 1, 4, 0, 0.4)
R(pmos_1_20, Metal1, [(0.07,0,0.23,1.5), (0.07,0,0.23,1.5), (0.6,0,0.76,1.5), (0.6,0,0.76,1.5)])
R(pmos_1_20, pSD, [(-0.18,-0.3,1.01,1.8)])
R(pmos_1_20, NWell, [(-0.31,-0.31,1.14,1.81)])
R(pmos_1_20, Substrate, [(0.53,0,0.83,0.3)])
R(pmos_1_20, HeatTrans, [(0.34,-0.18,0.49,1.68)])
pmos_1_20.add(gdstk.Label('pmos', (0.415,0.75), layer=63, texttype=0))
pmos_1_20.add(gdstk.Label('pmos', (0.415,0.75), layer=51, texttype=0))

nmos_1_11 = lib.new_cell('nmos$1$11')
R(nmos_1_11, Activ, [(0,0,0.3,0.3), (0,0,0.83,0.75), (0.53,0,0.83,0.3)])
R(nmos_1_11, GatPoly, [(0.34,-0.18,0.49,0.93)])
R(nmos_1_11, GatPoly_2, [(0.34,-0.18,0.49,0.93)])
R(nmos_1_11, Cont, [(0.07,0.07,0.23,0.23), (0.6,0.07,0.76,0.23), (0.07,0.52,0.23,0.68), (0.6,0.52,0.76,0.68)])
R(nmos_1_11, Metal1, [(0.07,0,0.23,0.75), (0.6,0,0.76,0.75)])
R(nmos_1_11, Metal1_pin, [(0.07,0,0.23,0.75), (0.6,0,0.76,0.75)])
R(nmos_1_11, HeatTrans, [(0.34,-0.18,0.49,0.93)])
nmos_1_11.add(gdstk.Label('nmos', (0.415,0.375), layer=63, texttype=0))
nmos_1_11.add(gdstk.Label('nmos', (0.415,0.375), layer=51, texttype=0))

tg_11 = lib.new_cell('tg$11')
R(tg_11, Activ, [(-1.035,-0.105,0.725,0.105), (-1.035,4.9,0.725,5.1)])
R(tg_11, GatPoly, [(-1.035,0.275,-0.725,0.585), (-0.725,0.36,0.075,0.5), (-1.035,4.305,-0.725,4.615), (-0.725,4.39,0.075,4.52)])
R(tg_11, Cont, [(-0.085,-0.085,0.085,0.085), (-0.96,0.35,-0.8,0.51), (-0.96,4.375,-0.8,4.535), (-0.08,4.92,0.08,5.08)])
R(tg_11, Metal1, [(-1.035,-0.085,0.725,0.085), (-0.085,-0.085,0.085,0.085), (-0.96,0.35,-0.8,0.51), (-0.345,0.83,-0.185,0.99), (0.185,0.83,0.345,0.99), (-0.345,1.06,-0.185,2.775), (0.185,1.06,0.345,2.775), (-0.985,4.35,-0.77,4.565), (-1.035,4.92,0.725,5.08), (-0.08,4.92,0.08,5.08)])
R(tg_11, Metal1_pin, [(-1.035,-0.085,0.725,0.085), (-0.085,-0.085,0.085,0.085), (-0.96,0.35,-0.8,0.51), (-0.345,0.83,-0.185,0.99), (0.185,0.83,0.345,0.99), (-0.96,4.375,-0.8,4.535), (-1.035,4.92,0.725,5.08), (-0.08,4.92,0.08,5.08)])
R(tg_11, pSD, [(-1.035,-0.135,0.725,0.135)])
R(tg_11, NWell, [(-0.725,4.585,0.725,4.9)])
tg_11.add(gdstk.Reference(pmos_1_20, (-0.415,2.775)))
tg_11.add(gdstk.Reference(nmos_1_11, (-0.415,0.575)))
tg_11.add(gdstk.Label('E', (-0.89,0.425), layer=8, texttype=2))
tg_11.add(gdstk.Label('vss', (0,0), layer=8, texttype=2))
tg_11.add(gdstk.Label('vdd', (0,5), layer=8, texttype=2))
tg_11.add(gdstk.Label('N_E', (-0.895,4.44), layer=8, texttype=2))
tg_11.add(gdstk.Label('VIN', (-0.285,0.91), layer=8, texttype=2))
tg_11.add(gdstk.Label('VOUT', (0.255,0.925), layer=8, texttype=2))

pmos_1_21 = lib.new_cell('pmos$1$21')
R(pmos_1_21, Activ, [(0,0,0.3,0.3), (0,0,0.83,1.5), (0.53,0,0.83,0.3)])
R(pmos_1_21, GatPoly, [(0.34,-0.18,0.49,1.68), (0.34,-0.18,0.49,1.68)])
A(pmos_1_21, Cont, 0.07, 0.07, 0.16, 0.16, 1, 4, 0, 0.4)
A(pmos_1_21, Cont, 0.6, 0.07, 0.16, 0.16, 1, 4, 0, 0.4)
R(pmos_1_21, Metal1, [(0.07,0,0.23,1.5), (0.07,0,0.23,1.5), (0.6,0,0.76,1.5), (0.6,0,0.76,1.5)])
R(pmos_1_21, pSD, [(-0.18,-0.3,1.01,1.8)])
R(pmos_1_21, NWell, [(-0.31,-0.31,1.14,1.81)])
R(pmos_1_21, Substrate, [(0.53,0,0.83,0.3)])
R(pmos_1_21, HeatTrans, [(0.34,-0.18,0.49,1.68)])
pmos_1_21.add(gdstk.Label('pmos', (0.415,0.75), layer=63, texttype=0))
pmos_1_21.add(gdstk.Label('pmos', (0.415,0.75), layer=51, texttype=0))

nmos_1_12 = lib.new_cell('nmos$1$12')
R(nmos_1_12, Activ, [(0,0,0.3,0.3), (0,0,0.83,0.75), (0.53,0,0.83,0.3)])
R(nmos_1_12, GatPoly, [(0.34,-0.18,0.49,0.93)])
R(nmos_1_12, GatPoly_2, [(0.34,-0.18,0.49,0.93)])
R(nmos_1_12, Cont, [(0.07,0.07,0.23,0.23), (0.6,0.07,0.76,0.23), (0.07,0.52,0.23,0.68), (0.6,0.52,0.76,0.68)])
R(nmos_1_12, Metal1, [(0.07,0,0.23,0.75), (0.6,0,0.76,0.75)])
R(nmos_1_12, Metal1_pin, [(0.07,0,0.23,0.75), (0.6,0,0.76,0.75)])
R(nmos_1_12, HeatTrans, [(0.34,-0.18,0.49,0.93)])
nmos_1_12.add(gdstk.Label('nmos', (0.415,0.375), layer=63, texttype=0))
nmos_1_12.add(gdstk.Label('nmos', (0.415,0.375), layer=51, texttype=0))

tg_12 = lib.new_cell('tg$12')
R(tg_12, Activ, [(-1.035,-0.105,0.725,0.105), (-1.035,4.9,0.725,5.1)])
R(tg_12, GatPoly, [(-1.035,0.275,-0.725,0.585), (-0.725,0.36,0.075,0.5), (-1.035,4.305,-0.725,4.615), (-0.725,4.39,0.075,4.52)])
R(tg_12, Cont, [(-0.085,-0.085,0.085,0.085), (-0.96,0.35,-0.8,0.51), (-0.96,4.375,-0.8,4.535), (-0.08,4.92,0.08,5.08)])
R(tg_12, Metal1, [(-1.035,-0.085,0.725,0.085), (-0.085,-0.085,0.085,0.085), (-0.96,0.35,-0.8,0.51), (-0.345,0.83,-0.185,0.99), (0.185,0.83,0.345,0.99), (-0.345,1.06,-0.185,2.775), (0.185,1.06,0.345,2.775), (-0.985,4.35,-0.77,4.565), (-1.035,4.92,0.725,5.08), (-0.08,4.92,0.08,5.08)])
R(tg_12, Metal1_pin, [(-1.035,-0.085,0.725,0.085), (-0.085,-0.085,0.085,0.085), (-0.96,0.35,-0.8,0.51), (-0.345,0.83,-0.185,0.99), (0.185,0.83,0.345,0.99), (-0.96,4.375,-0.8,4.535), (-1.035,4.92,0.725,5.08), (-0.08,4.92,0.08,5.08)])
R(tg_12, pSD, [(-1.035,-0.135,0.725,0.135)])
R(tg_12, NWell, [(-0.725,4.585,0.725,4.9)])
tg_12.add(gdstk.Reference(pmos_1_21, (-0.415,2.775)))
tg_12.add(gdstk.Reference(nmos_1_12, (-0.415,0.575)))
tg_12.add(gdstk.Label('E', (-0.89,0.425), layer=8, texttype=2))
tg_12.add(gdstk.Label('vss', (0,0), layer=8, texttype=2))
tg_12.add(gdstk.Label('vdd', (0,5), layer=8, texttype=2))
tg_12.add(gdstk.Label('N_E', (-0.895,4.44), layer=8, texttype=2))
tg_12.add(gdstk.Label('VIN', (-0.285,0.91), layer=8, texttype=2))
tg_12.add(gdstk.Label('VOUT', (0.255,0.925), layer=8, texttype=2))

dffc = lib.new_cell('dffc')
dffc.add(gdstk.Reference(inverter_6, (-9.83,-0.335)))
dffc.add(gdstk.Reference(nor2_3, (-6.5,-0.335)))
dffc.add(gdstk.Reference(nor2_4, (-6.26,-0.335), rotation=pi))
dffc.add(gdstk.Reference(inverter_7, (-2.77,0.565)))
dffc.add(gdstk.Reference(nor2_5, (16.725,0)))
dffc.add(gdstk.Reference(inverter_8, (-12.85,-0.325), rotation=pi))
dffc.add(gdstk.Reference(nor2_6, (16.325,-0.465), rotation=pi))
dffc.add(gdstk.Reference(tg_6, (-10.44,-0.015)))
dffc.add(gdstk.Reference(inverter_9, (4.915,0)))
dffc.add(gdstk.Reference(tg_11, (-9.985,-0.32), x_reflection=True))
dffc.add(gdstk.Reference(tg_12, (-3.195,-0.335), rotation=pi))

lib.write_gds('dffc.gds')
